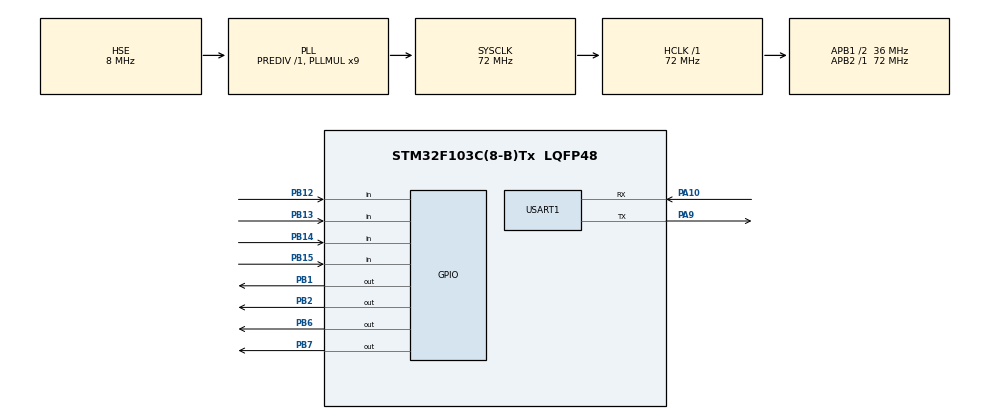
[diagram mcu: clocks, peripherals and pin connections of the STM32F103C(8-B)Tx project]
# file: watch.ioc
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Mcu.Family=STM32F1
Mcu.Name=STM32F103C(8-B)Tx
Mcu.Package=LQFP48
NVIC.PriorityGroup=NVIC_PRIORITYGROUP_4
NVIC.TIM1_UP_IRQn=true\:0\:0\:false\:false\:true\:true\:true\:true
NVIC.USART1_IRQn=true\:0\:0\:false\:false\:true\:true\:true\:true
PA10.Mode=Asynchronous
PA10.Signal=USART1_RX
PA13.Mode=Serial_Wire
PA13.Signal=SYS_JTMS-SWDIO
PA14.Mode=Serial_Wire
PA14.Signal=SYS_JTCK-SWCLK
PA9.Mode=Asynchronous
PA9.Signal=USART1_TX
PB1.Signal=GPIO_Output
PB12.GPIO_Mode=GPIO_MODE_INPUT
PB12.GPIO_PuPd=GPIO_PULLUP
PB12.Signal=GPIO_Input
PB13.GPIO_Mode=GPIO_MODE_INPUT
PB13.GPIO_PuPd=GPIO_PULLUP
PB13.Signal=GPIO_Input
PB14.GPIO_Mode=GPIO_MODE_INPUT
PB14.GPIO_PuPd=GPIO_PULLUP
PB14.Signal=GPIO_Input
PB15.GPIO_Mode=GPIO_MODE_INPUT
PB15.GPIO_PuPd=GPIO_PULLUP
PB15.Signal=GPIO_Input
PB2.Signal=GPIO_Output
PB6.GPIO_PuPd=GPIO_NOPULL
PB6.Signal=GPIO_Output
PB7.GPIO_PuPd=GPIO_NOPULL
PB7.Signal=GPIO_Output
PD0-OSC_IN.Mode=HSE-External-Oscillator
PD0-OSC_IN.Signal=RCC_OSC_IN
PD1-OSC_OUT.Mode=HSE-External-Oscillator
PD1-OSC_OUT.Signal=RCC_OSC_OUT
ProjectManager.HeapSize=0x200
ProjectManager.StackSize=0x400
ProjectManager.TargetToolchain=MDK-ARM V5.32
RCC.AHBFreq_Value=72000000
RCC.APB1CLKDivider=RCC_HCLK_DIV2
RCC.APB1Freq_Value=36000000
RCC.APB1TimFreq_Value=72000000
RCC.APB2Freq_Value=72000000
RCC.APB2TimFreq_Value=72000000
RCC.HCLKFreq_Value=72000000
RCC.PLLMUL=RCC_PLL_MUL9
RCC.PLLSourceVirtual=RCC_PLLSOURCE_HSE
RCC.SYSCLKFreq_VALUE=72000000
RCC.SYSCLKSource=RCC_SYSCLKSOURCE_PLLCLK
RCC.USBFreq_Value=72000000
TIM1.Period=1000
TIM1.Prescaler=71
USART1.VirtualMode=VM_ASYNC
VP_TIM1_VS_ClockSourceINT.Mode=Internal
board=custom

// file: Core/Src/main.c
/* USER CODE BEGIN Header */
/**
  ******************************************************************************
  * @file           : main.c
  * @brief          : Main program body
  ******************************************************************************
  * @attention
  *
  * Copyright (c) 2026 STMicroelectronics.
  * All rights reserved.
  *
  * This software is licensed under terms that can be found in the LICENSE file
  * in the root directory of this software component.
  * If no LICENSE file comes with this software, it is provided AS-IS.
  *
  ******************************************************************************
  */
/* USER CODE END Header */
#include "main.h"
#include "tim.h"
#include "usart.h"
#include "gpio.h"

/* USER CODE BEGIN Includes */
#include "delay.h"
#include "sw_i2c.h"
#include "OLED.h"
#include "ds1302.h"
#include "ds18b20.h"
#include "stmflash.h"
#include "key.h"
#include "usart1.h"
#include "adxl345.h"
#include "algorithm.h"
#include "max30102.h"
#include <stdio.h>
#include <string.h>
/* USER CODE END Includes */

/* USER CODE BEGIN PD */
#define FLASH_SAVE_ADDR  ((u32)0x0800F000)   /* step counter / first-boot marker */
#define MAX_BRIGHTNESS   255
/* USER CODE END PD */

/* USER CODE BEGIN PV */
unsigned char setn = 0;            /* setting mode index, 0 = run */
unsigned char p_r  = 0;            /* 0 = common year, 1 = leap year */
float adx, ady, adz;
float acc;
u8  flag = 0;
u16 bushu = 0;                     /* step count */
short temperature = 0;
char display[16];

uint32_t aun_ir_buffer[150];       /* infrared LED sensor data */
uint32_t aun_red_buffer[150];      /* red LED sensor data */
int32_t n_ir_buffer_length;        /* data length */
int32_t n_spo2;                    /* SPO2 value */
int8_t  ch_spo2_valid;             /* SPO2 valid flag */
int32_t n_heart_rate;              /* heart rate value */
int8_t  ch_hr_valid;               /* heart rate valid flag */
uint8_t uch_dummy;

int32_t hr_buf[16];
int32_t hrSum;
int32_t hrAvg;                     /* averaged heart rate */
int32_t spo2_buf[16];
int32_t spo2Sum;
int32_t spo2Avg;                   /* averaged SpO2 */
int32_t spo2BuffFilled;
int32_t hrBuffFilled;
int32_t hrValidCnt = 0;
int32_t spo2ValidCnt = 0;
int32_t hrThrowOutSamp = 0;
int32_t spo2ThrowOutSamp = 0;
int32_t spo2Timeout = 0;
int32_t hrTimeout = 0;
uint32_t un_min, un_max, un_prev_data;
uint32_t un_brightness;
/* USER CODE END PV */

void SystemClock_Config(void);
/* USER CODE BEGIN PFP */
void Init_MAX30102(void);
void GetHeartRateSpO2(void);
void DisplayTime(void);
void DisplayTemperature(void);
void CHECK_NEW_MCU(void);
void GetSteps(void);
void KeySettings(void);
void UsartSendData(void);
/* USER CODE END PFP */

int main(void)
{

  /* MCU Configuration--------------------------------------------------------*/

  /* Reset of all peripherals, Initializes the Flash interface and the Systick. */
  HAL_Init();

  /* Configure the system clock */
  SystemClock_Config();

  /* Initialize all configured peripherals */
  MX_GPIO_Init();
  MX_USART1_UART_Init();
  MX_TIM1_Init();
  /* USER CODE BEGIN 2 */
  DelayInit();                 /* DWT microsecond timer for the bit-bang drivers */

  OLED_Init();                 /* OLED + its software I2C bus (PB6/PB7) */
  KEY_Init();
  DelayMs(200);
  CHECK_NEW_MCU();             /* first-boot check + restore saved step count */
  OLED_CLS();
  DS18B20_Init();
  DS1302_Init(&SysDate);
  DelayMs(100);
  DS1302_DateRead(&SysDate);
  {
    char i;
    /* welcome line: huan ying shi yong shou biao xin lv (glyphs 8..15) */
    for (i = 0; i < 8; i++) OLED_ShowCN(i * 16, 2, i + 8, 0);
  }
  DelayMs(1000); DelayMs(1000);
  OLED_CLS();
  {
    char i;
    for (i = 0; i < 2; i++) OLED_ShowCN(i * 16,      4, i + 16, 0); /* bu shu   (steps) */
    for (i = 0; i < 2; i++) OLED_ShowCN(i * 16 + 48, 4, i + 18, 0); /* xue yang (SpO2)  */
    for (i = 0; i < 2; i++) OLED_ShowCN(i * 16 + 95, 4, i + 20, 0); /* wen du   (temp)  */
  }

  SW_I2C_Init(&hi2c_adxl);     /* ADXL345 bus (PA6/PA7) */
  adxl345_init();
  Init_MAX30102();             /* inits the MAX30102 bus (PB11/PB10) internally */
  /* USER CODE END 2 */

  /* Infinite loop */
  while (1)
  {

    /* USER CODE BEGIN 3 */
    KeySettings();
    DisplayTime();
    if (setn == 0)               /* in run mode, read all sensors */
    {
      DisplayTemperature();
      GetSteps();
      GetHeartRateSpO2();
    }
    UsartSendData();
  }
  /* USER CODE END 3 */
}

void SystemClock_Config(void)
{
  RCC_OscInitTypeDef RCC_OscInitStruct = {0};
  RCC_ClkInitTypeDef RCC_ClkInitStruct = {0};

  /** Initializes the RCC Oscillators according to the specified parameters
  * in the RCC_OscInitTypeDef structure.
  */
  RCC_OscInitStruct.OscillatorType = RCC_OSCILLATORTYPE_HSE;
  RCC_OscInitStruct.HSEState = RCC_HSE_ON;
  RCC_OscInitStruct.HSEPredivValue = RCC_HSE_PREDIV_DIV1;
  RCC_OscInitStruct.HSIState = RCC_HSI_ON;
  RCC_OscInitStruct.PLL.PLLState = RCC_PLL_ON;
  RCC_OscInitStruct.PLL.PLLSource = RCC_PLLSOURCE_HSE;
  RCC_OscInitStruct.PLL.PLLMUL = RCC_PLL_MUL9;
  if (HAL_RCC_OscConfig(&RCC_OscInitStruct) != HAL_OK)
  {
    Error_Handler();
  }

  /** Initializes the CPU, AHB and APB buses clocks
  */
  RCC_ClkInitStruct.ClockType = RCC_CLOCKTYPE_HCLK|RCC_CLOCKTYPE_SYSCLK
                              |RCC_CLOCKTYPE_PCLK1|RCC_CLOCKTYPE_PCLK2;
  RCC_ClkInitStruct.SYSCLKSource = RCC_SYSCLKSOURCE_PLLCLK;
  RCC_ClkInitStruct.AHBCLKDivider = RCC_SYSCLK_DIV1;
  RCC_ClkInitStruct.APB1CLKDivider = RCC_HCLK_DIV2;
  RCC_ClkInitStruct.APB2CLKDivider = RCC_HCLK_DIV1;

  if (HAL_RCC_ClockConfig(&RCC_ClkInitStruct, FLASH_LATENCY_2) != HAL_OK)
  {
    Error_Handler();
  }
}

/* USER CODE BEGIN 4 */

void Init_MAX30102(void)
{
    int32_t i;

    un_brightness = 0;
    un_min = 0x3FFFF;
    un_max = 0;

    SW_I2C_Init(&hi2c_max30102);            /* MAX30102 bus (PB11/PB10) */
    maxim_max30102_reset();
    maxim_max30102_read_reg(REG_INTR_STATUS_1, &uch_dummy);
    maxim_max30102_init();

    n_ir_buffer_length = 150;               /* 150 samples = 3 s at 50 sps */

    /* read the first 150 samples and find the signal range */
    for (i = 0; i < n_ir_buffer_length; i++)
    {
        maxim_max30102_read_fifo((aun_ir_buffer + i), (aun_red_buffer + i));
        if (un_min > aun_red_buffer[i]) un_min = aun_red_buffer[i];
        if (un_max < aun_red_buffer[i]) un_max = aun_red_buffer[i];
    }
    un_prev_data = aun_red_buffer[i - 1];
    maxim_heart_rate_and_oxygen_saturation(aun_ir_buffer, n_ir_buffer_length, aun_red_buffer, &n_spo2, &ch_spo2_valid, &n_heart_rate, &ch_hr_valid);
}

void GetHeartRateSpO2(void)
{
    int32_t i;
    float f_temp;
    static u8 COUNT = 8;
    unsigned char x = 0;

    i = 0;
    un_min = 0x3FFFF;
    un_max = 0;

    /* drop the first 50 samples and shift the last 100 to the top */
    for (i = 50; i < 150; i++)
    {
        aun_red_buffer[i - 50] = aun_red_buffer[i];
        aun_ir_buffer[i - 50] = aun_ir_buffer[i];
        if (un_min > aun_red_buffer[i]) un_min = aun_red_buffer[i];
        if (un_max < aun_red_buffer[i]) un_max = aun_red_buffer[i];
    }

    /* take 50 new samples before recalculating the heart rate */
    for (i = 100; i < 150; i++)
    {
        un_prev_data = aun_red_buffer[i - 1];
        maxim_max30102_read_fifo((aun_ir_buffer + i), (aun_red_buffer + i));

        if (aun_red_buffer[i] > un_prev_data)
        {
            f_temp = aun_red_buffer[i] - un_prev_data;
            f_temp /= (un_max - un_min);
            f_temp *= MAX_BRIGHTNESS;
            f_temp = un_brightness - f_temp;
            if (f_temp < 0)
                un_brightness = 0;
            else
                un_brightness = (int)f_temp;
        }
        else
        {
            f_temp = un_prev_data - aun_red_buffer[i];
            f_temp /= (un_max - un_min);
            f_temp *= MAX_BRIGHTNESS;
            un_brightness += (int)f_temp;
            if (un_brightness > MAX_BRIGHTNESS)
                un_brightness = MAX_BRIGHTNESS;
        }
    }
    maxim_heart_rate_and_oxygen_saturation(aun_ir_buffer, n_ir_buffer_length, aun_red_buffer, &n_spo2, &ch_spo2_valid, &n_heart_rate, &ch_hr_valid);
    if (COUNT++ > 8)
    {
        COUNT = 0;
        temperature = DS18B20_Get_Temp();
        if ((ch_hr_valid == 1) && (n_heart_rate < 150) && (n_heart_rate > 60))
        {
            hrTimeout = 0;
            if (hrValidCnt == 4)
            {
                hrThrowOutSamp = 1;
                hrValidCnt = 0;
                for (i = 12; i < 16; i++)
                {
                    if (n_heart_rate < hr_buf[i] + 10)
                    {
                        hrThrowOutSamp = 0;
                        hrValidCnt   = 4;
                    }
                }
            }
            else
            {
                hrValidCnt = hrValidCnt + 1;
            }

            if (hrThrowOutSamp == 0)
            {
                for (i = 0; i < 15; i++) hr_buf[i] = hr_buf[i + 1];
                hr_buf[15] = n_heart_rate;
                if (hrBuffFilled < 16) hrBuffFilled = hrBuffFilled + 1;

                hrSum = 0;
                if (hrBuffFilled < 2)
                {
                    hrAvg = 0;
                }
                else if (hrBuffFilled < 4)
                {
                    for (i = 14; i < 16; i++) hrSum = hrSum + hr_buf[i];
                    hrAvg = hrSum >> 1;
                }
                else if (hrBuffFilled < 8)
                {
                    for (i = 12; i < 16; i++) hrSum = hrSum + hr_buf[i];
                    hrAvg = hrSum >> 2;
                }
                else if (hrBuffFilled < 16)
                {
                    for (i = 8; i < 16; i++) hrSum = hrSum + hr_buf[i];
                    hrAvg = hrSum >> 3;
                }
                else
                {
                    for (i = 0; i < 16; i++) hrSum = hrSum + hr_buf[i];
                    hrAvg = hrSum >> 4;
                }
            }
            hrThrowOutSamp = 0;
        }
        else
        {
            hrValidCnt = 0;
            if (hrTimeout == 4)
            {
                hrAvg = 0;
                hrBuffFilled = 0;
            }
            else
            {
                hrTimeout++;
            }
        }

        if ((ch_spo2_valid == 1) && (n_spo2 > 80))
        {
            spo2Timeout = 0;
            if (spo2ValidCnt == 4)
            {
                spo2ThrowOutSamp = 1;
                spo2ValidCnt = 0;
                for (i = 12; i < 16; i++)
                {
                    if (n_spo2 > spo2_buf[i] - 10)
                    {
                        spo2ThrowOutSamp = 0;
                        spo2ValidCnt   = 4;
                    }
                }
            }
            else
            {
                spo2ValidCnt = spo2ValidCnt + 1;
            }

            if (spo2ThrowOutSamp == 0)
            {
                for (i = 0; i < 15; i++) spo2_buf[i] = spo2_buf[i + 1];
                spo2_buf[15] = n_spo2;
                if (spo2BuffFilled < 16) spo2BuffFilled = spo2BuffFilled + 1;

                spo2Sum = 0;
                if (spo2BuffFilled < 2)
                {
                    spo2Avg = 0;
                }
                else if (spo2BuffFilled < 4)
                {
                    for (i = 14; i < 16; i++) spo2Sum = spo2Sum + spo2_buf[i];
                    spo2Avg = spo2Sum >> 1;
                }
                else if (spo2BuffFilled < 8)
                {
                    for (i = 12; i < 16; i++) spo2Sum = spo2Sum + spo2_buf[i];
                    spo2Avg = spo2Sum >> 2;
                }
                else if (spo2BuffFilled < 16)
                {
                    for (i = 8; i < 16; i++) spo2Sum = spo2Sum + spo2_buf[i];
                    spo2Avg = spo2Sum >> 3;
                }
                else
                {
                    for (i = 0; i < 16; i++) spo2Sum = spo2Sum + spo2_buf[i];
                    spo2Avg = spo2Sum >> 4;
                }
            }
            spo2ThrowOutSamp = 0;
        }
        else
        {
            spo2ValidCnt = 0;
            if (spo2Timeout == 4)
            {
                spo2Avg = 0;
                spo2BuffFilled = 0;
            }
            else
            {
                spo2Timeout++;
            }
        }
        /* show heart rate (cols 0..2) and SpO2 (cols 6..8) on page 6 */
        OLED_ShowChar((x++) * 8, 6, hrAvg % 1000 / 100 + '0', 2, 0);
        OLED_ShowChar((x++) * 8, 6, hrAvg % 100 / 10 + '0', 2, 0);
        OLED_ShowChar((x++) * 8, 6, hrAvg % 10 + '0', 2, 0);
        x = 6;
        OLED_ShowChar((x++) * 8, 6, spo2Avg % 1000 / 100 + '0', 2, 0);
        OLED_ShowChar((x++) * 8, 6, spo2Avg % 100 / 10 + '0', 2, 0);
        OLED_ShowChar((x++) * 8, 6, spo2Avg % 10 + '0', 2, 0);
    }
}

void DisplayTime(void)
{
    unsigned char i = 0, x = 0;
    u16 nian_temp;

    if (setn == 0) DS1302_DateRead(&SysDate);
    nian_temp = 2000 + SysDate.year;
    if ((nian_temp % 400 == 0) || ((nian_temp % 100 != 0) && (nian_temp % 4 == 0)))
        p_r = 1;
    else
        p_r = 0;

    OLED_ShowChar((x++) * 8, 0, '2', 2, setn + 1 - 1);
    OLED_ShowChar((x++) * 8, 0, '0', 2, setn + 1 - 1);
    OLED_ShowChar((x++) * 8, 0, SysDate.year / 10 + '0', 2, setn + 1 - 1);
    OLED_ShowChar((x++) * 8, 0, SysDate.year % 10 + '0', 2, setn + 1 - 1);
    OLED_ShowChar((x++) * 8, 0, '-', 2, 0);
    OLED_ShowChar((x++) * 8, 0, SysDate.mon / 10 + '0', 2, setn + 1 - 2);
    OLED_ShowChar((x++) * 8, 0, SysDate.mon % 10 + '0', 2, setn + 1 - 2);
    OLED_ShowChar((x++) * 8, 0, '-', 2, 0);
    OLED_ShowChar((x++) * 8, 0, SysDate.day / 10 + '0', 2, setn + 1 - 3);
    OLED_ShowChar((x++) * 8, 0, SysDate.day % 10 + '0', 2, setn + 1 - 3);

    OLED_ShowCN(i * 16 + 88, 0, 0, setn + 1 - 4);   /* "nian" glyph */
    switch (SysDate.week)
    {
    case 1: OLED_ShowCN(i * 16 + 104, 0, 1, setn + 1 - 4); break;
    case 2: OLED_ShowCN(i * 16 + 104, 0, 2, setn + 1 - 4); break;
    case 3: OLED_ShowCN(i * 16 + 104, 0, 3, setn + 1 - 4); break;
    case 4: OLED_ShowCN(i * 16 + 104, 0, 4, setn + 1 - 4); break;
    case 5: OLED_ShowCN(i * 16 + 104, 0, i + 5, setn + 1 - 4); break;
    case 6: OLED_ShowCN(i * 16 + 104, 0, 6, setn + 1 - 4); break;
    case 7: OLED_ShowCN(i * 16 + 104, 0, 7, setn + 1 - 4); break;
    }
    x = 0;
    OLED_ShowChar((x++) * 8, 2, SysDate.hour / 10 + '0', 2, setn + 1 - 5);
    OLED_ShowChar((x++) * 8, 2, SysDate.hour % 10 + '0', 2, setn + 1 - 5);
    OLED_ShowChar((x++) * 8, 2, ':', 2, 0);
    OLED_ShowChar((x++) * 8, 2, SysDate.min / 10 + '0', 2, setn + 1 - 6);
    OLED_ShowChar((x++) * 8, 2, SysDate.min % 10 + '0', 2, setn + 1 - 6);
    OLED_ShowChar((x++) * 8, 2, ':', 2, 0);
    OLED_ShowChar((x++) * 8, 2, SysDate.sec / 10 + '0', 2, setn + 1 - 7);
    OLED_ShowChar((x++) * 8, 2, SysDate.sec % 10 + '0', 2, setn + 1 - 7);
}

void DisplayTemperature(void)
{
    unsigned char x = 10;

    temperature = DS18B20_Get_Temp();
    OLED_ShowChar((x++) * 8, 2, temperature / 100 + '0', 2, 0);
    OLED_ShowChar((x++) * 8, 2, temperature % 100 / 10 + '0', 2, 0);
    OLED_ShowChar((x++) * 8, 2, '.', 2, 0);
    OLED_ShowChar((x++) * 8, 2, temperature % 10 + '0', 2, 0);
    OLED_ShowChar((x++) * 8, 2, 'C', 2, 0);
}

void CHECK_NEW_MCU(void)
{
    u16 comper_buf[6];                       /* 12 bytes, 2-byte aligned */
    char *comper_str = (char *)comper_buf;

    STMFLASH_Read(FLASH_SAVE_ADDR + 0x10, comper_buf, 5);   /* read 5 half-words */
    comper_str[10] = '\0';
    if (strstr(comper_str, "FDYDZ") == NULL)                /* fresh MCU */
    {
        STMFLASH_Write(FLASH_SAVE_ADDR + 0x10, (u16 *)"FDYDZ\0\0\0\0\0", 5);
        STMFLASH_Write(FLASH_SAVE_ADDR + 0x20, &bushu, 1);
    }
    DelayMs(100);
    STMFLASH_Read(FLASH_SAVE_ADDR + 0x20, &bushu, 1);       /* restore step count */
    if (bushu > 60000) bushu = 0;
}

void GetSteps(void)
{
    static u16 temp = 0;
    u16 x = 11;

    adxl345_read_average(&adx, &ady, &adz, 10);
    acc = adx;
    if (acc > 0)
    {
        if (acc / 10 > 5 && flag == 1)       /* peak detected -> one step */
        {
            flag = 0;
            if (bushu < 60000) bushu++;
            if (temp != bushu)
            {
                temp = bushu;
                STMFLASH_Write(FLASH_SAVE_ADDR + 0x20, &bushu, 1);
            }
        }
    }
    if (acc < 0)
    {
        acc = -acc;
        if (acc / 10 >= 5) flag = 1;
    }
    if (bushu > 9999)
    {
        OLED_ShowChar((x++) * 8, 6, bushu / 10000 + '0', 2, 0);
        OLED_ShowChar((x++) * 8, 6, bushu % 10000 / 1000 + '0', 2, 0);
        OLED_ShowChar((x++) * 8, 6, bushu % 1000 / 100 + '0', 2, 0);
        OLED_ShowChar((x++) * 8, 6, bushu % 100 / 10 + '0', 2, 0);
        OLED_ShowChar((x++) * 8, 6, bushu % 10 + '0', 2, 0);
    }
    else if (bushu > 999)
    {
        OLED_ShowChar((x++) * 8, 6, ' ', 2, 0);
        OLED_ShowChar((x++) * 8, 6, bushu % 10000 / 1000 + '0', 2, 0);
        OLED_ShowChar((x++) * 8, 6, bushu % 1000 / 100 + '0', 2, 0);
        OLED_ShowChar((x++) * 8, 6, bushu % 100 / 10 + '0', 2, 0);
        OLED_ShowChar((x++) * 8, 6, bushu % 10 + '0', 2, 0);
    }
    else if (bushu > 99)
    {
        OLED_ShowChar((x++) * 8, 6, ' ', 2, 0);
        OLED_ShowChar((x++) * 8, 6, ' ', 2, 0);
        OLED_ShowChar((x++) * 8, 6, bushu % 1000 / 100 + '0', 2, 0);
        OLED_ShowChar((x++) * 8, 6, bushu % 100 / 10 + '0', 2, 0);
        OLED_ShowChar((x++) * 8, 6, bushu % 10 + '0', 2, 0);
    }
    else if (bushu > 9)
    {
        OLED_ShowChar((x++) * 8, 6, ' ', 2, 0);
        OLED_ShowChar((x++) * 8, 6, ' ', 2, 0);
        OLED_ShowChar((x++) * 8, 6, bushu % 100 / 10 + '0', 2, 0);
        OLED_ShowChar((x++) * 8, 6, bushu % 10 + '0', 2, 0);
        OLED_ShowChar((x++) * 8, 6, ' ', 2, 0);
    }
    else
    {
        OLED_ShowChar((x++) * 8, 6, ' ', 2, 0);
        OLED_ShowChar((x++) * 8, 6, ' ', 2, 0);
        OLED_ShowChar((x++) * 8, 6, bushu % 10 + '0', 2, 0);
        OLED_ShowChar((x++) * 8, 6, ' ', 2, 0);
        OLED_ShowChar((x++) * 8, 6, ' ', 2, 0);
    }
}

void KeySettings(void)
{
    unsigned char keynum = 0;

    keynum = KEY_Scan(0);
    if (keynum == 1)                         /* enter / advance setting field */
    {
        setn++;
        if (setn > 7) setn = 0;
    }
    if (keynum == 2)                         /* increment */
    {
        if (setn == 1)
        {
            SysDate.year++;
            if (SysDate.year == 100) SysDate.year = 0;
            DS1302_DateSet(&SysDate);
        }
        if (setn == 2)
        {
            SysDate.mon++;
            if (SysDate.mon == 13) SysDate.mon = 1;
            if ((SysDate.mon == 4) || (SysDate.mon == 6) || (SysDate.mon == 9) || (SysDate.mon == 11))
            {
                if (SysDate.day > 30) SysDate.day = 1;
            }
            else
            {
                if (SysDate.mon == 2)
                {
                    if (p_r == 1) { if (SysDate.day > 29) SysDate.day = 1; }
                    else          { if (SysDate.day > 28) SysDate.day = 1; }
                }
            }
            DS1302_DateSet(&SysDate);
        }
        if (setn == 3)
        {
            SysDate.day++;
            if ((SysDate.mon == 1) || (SysDate.mon == 3) || (SysDate.mon == 5) || (SysDate.mon == 7) || (SysDate.mon == 8) || (SysDate.mon == 10) || (SysDate.mon == 12))
            {
                if (SysDate.day == 32) SysDate.day = 1;
            }
            else
            {
                if (SysDate.mon == 2)
                {
                    if (p_r == 1) { if (SysDate.day == 30) SysDate.day = 1; }
                    else          { if (SysDate.day == 29) SysDate.day = 1; }
                }
                else
                {
                    if (SysDate.day == 31) SysDate.day = 1;
                }
            }
            DS1302_DateSet(&SysDate);
        }
        if (setn == 4)
        {
            SysDate.week++;
            if (SysDate.week == 8) SysDate.week = 1;
            DS1302_DateSet(&SysDate);
        }
        if (setn == 5)
        {
            SysDate.hour++;
            if (SysDate.hour == 24) SysDate.hour = 0;
            DS1302_DateSet(&SysDate);
        }
        if (setn == 6)
        {
            SysDate.min++;
            if (SysDate.min == 60) SysDate.min = 0;
            DS1302_DateSet(&SysDate);
        }
        if (setn == 7)
        {
            SysDate.sec++;
            if (SysDate.sec == 60) SysDate.sec = 0;
            DS1302_DateSet(&SysDate);
        }
    }
    if (keynum == 3)                         /* decrement */
    {
        if (setn == 1)
        {
            if (SysDate.year == 0) SysDate.year = 100;
            SysDate.year--;
            DS1302_DateSet(&SysDate);
        }
        if (setn == 2)
        {
            if (SysDate.mon == 1) SysDate.mon = 13;
            SysDate.mon--;
            if ((SysDate.mon == 4) || (SysDate.mon == 6) || (SysDate.mon == 9) || (SysDate.mon == 11))
            {
                if (SysDate.day > 30) SysDate.day = 1;
            }
            else
            {
                if (SysDate.mon == 2)
                {
                    if (p_r == 1) { if (SysDate.day > 29) SysDate.day = 1; }
                    else          { if (SysDate.day > 28) SysDate.day = 1; }
                }
            }
            DS1302_DateSet(&SysDate);
        }
        if (setn == 3)
        {
            SysDate.day--;
            if ((SysDate.mon == 1) || (SysDate.mon == 3) || (SysDate.mon == 5) || (SysDate.mon == 7) || (SysDate.mon == 8) || (SysDate.mon == 10) || (SysDate.mon == 12))
            {
                if (SysDate.day == 0) SysDate.day = 31;
            }
            else
            {
                if (SysDate.mon == 2)
                {
                    if (p_r == 1) { if (SysDate.day == 0) SysDate.day = 29; }
                    else          { if (SysDate.day == 0) SysDate.day = 28; }
                }
                else
                {
                    if (SysDate.day == 0) SysDate.day = 30;
                }
            }
            DS1302_DateSet(&SysDate);
        }
        if (setn == 4)
        {
            if (SysDate.week == 1) SysDate.week = 8;
            SysDate.week--;
            DS1302_DateSet(&SysDate);
        }
        if (setn == 5)
        {
            if (SysDate.hour == 0) SysDate.hour = 24;
            SysDate.hour--;
            DS1302_DateSet(&SysDate);
        }
        if (setn == 6)
        {
            if (SysDate.min == 0) SysDate.min = 60;
            SysDate.min--;
            DS1302_DateSet(&SysDate);
        }
        if (setn == 7)
        {
            if (SysDate.sec == 0) SysDate.sec = 60;
            SysDate.sec--;
            DS1302_DateSet(&SysDate);
        }
    }
    if (keynum == 4)                         /* reset step count */
    {
        bushu = 0;
        STMFLASH_Write(FLASH_SAVE_ADDR + 0x20, &bushu, 1);
        DelayMs(50);
    }
}

void UsartSendData(void)
{
    static u8 flag1 = 0, flag2 = 1;
    float temp = 0.0;

    if (flag1 != SysDate.sec)
    {
        flag1 = SysDate.sec;
        flag2 = !flag2;
        if (flag2 == 1)                      /* report every 2 seconds */
        {
            temp = (float)temperature / 10;
            printf("Temp:%4.1fC  \r\n", temp);
            DelayMs(10);
            printf("HR:%d  \r\n", hrAvg);
            DelayMs(10);
            printf("SpO2:%d  \r\n", spo2Avg);
            DelayMs(10);
            printf("Step:%d  \r\n", bushu);
            DelayMs(10);
            printf("\r\n");
        }
    }
}

/* USER CODE END 4 */

void Error_Handler(void)
{
  __disable_irq();
  while (1)
  {
  }
}
